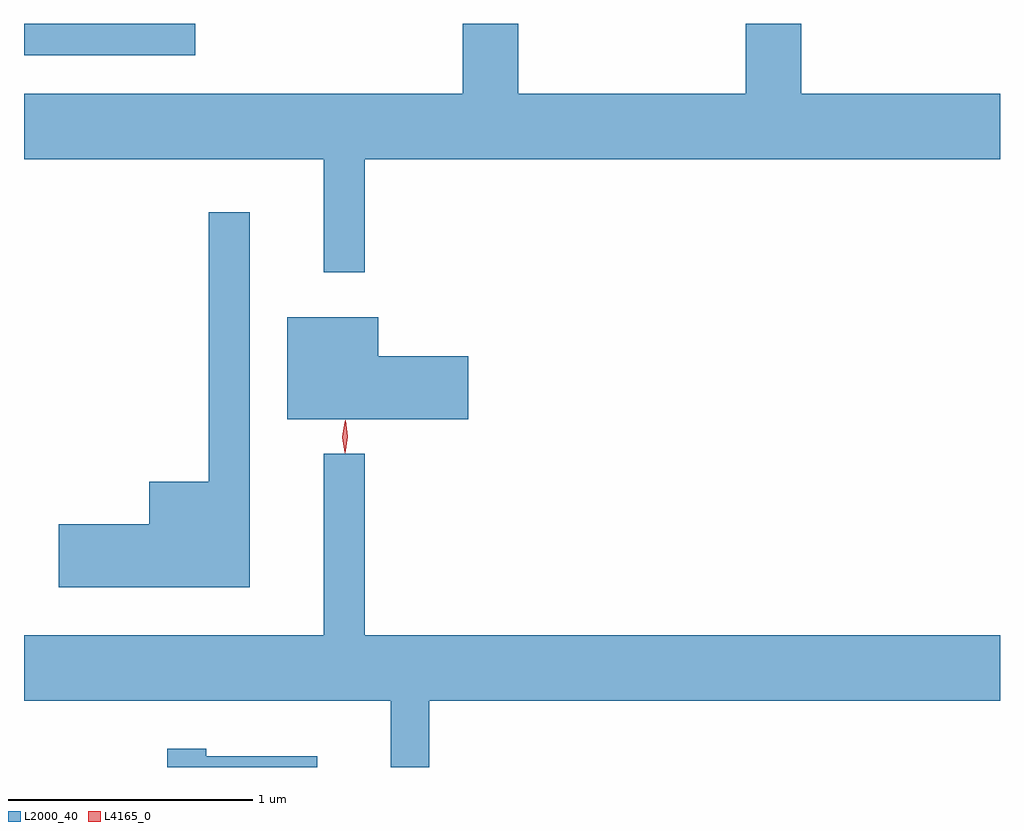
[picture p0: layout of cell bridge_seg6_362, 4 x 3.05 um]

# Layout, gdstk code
import gdstk
lib = gdstk.Library(unit=1e-6, precision=1e-09)
def R(c, l, rs):  # rectangles x0, y0, x1, y1
    for r in rs: c.add(gdstk.rectangle(r[:2], r[2:], *l))
def P(c, l, *ps):  # polygons
    for p in ps: c.add(gdstk.Polygon(p, *l))
L2000_40 = (2000, 40)
L4165_0 = (4165, 0)

bridge_seg6_362 = lib.new_cell('bridge_seg6_362')
R(bridge_seg6_362, L2000_40, [(956.633,1668.121,957.334,1668.252)])
P(bridge_seg6_362, L2000_40, [(958.029,1667.696),(960.633,1667.696),(960.633,1667.964),(959.819,1667.964),(959.819,1668.252),(959.591,1668.252),(959.591,1667.964),(958.659,1667.964),(958.659,1668.252),(958.431,1668.252),(958.431,1667.964),(956.633,1667.964),(956.633,1667.696),(957.861,1667.696),(957.861,1667.233),(958.029,1667.233)],
  [(957.559,1667.478),(957.391,1667.478),(957.391,1666.374),(957.146,1666.374),(957.146,1666.199),(956.776,1666.199),(956.776,1665.941),(957.559,1665.941)],
  [(958.454,1666.889),(958.084,1666.889),(958.084,1667.049),(957.711,1667.049),(957.711,1666.631),(958.454,1666.631)],
  [(958.294,1665.476),(960.633,1665.476),(960.633,1665.744),(958.029,1665.744),(958.029,1666.488),(957.861,1666.488),(957.861,1665.744),(956.633,1665.744),(956.633,1665.476),(958.136,1665.476),(958.136,1665.203),(958.294,1665.203)],
  [(957.834,1665.249),(957.379,1665.249),(957.379,1665.279),(957.221,1665.279),(957.221,1665.203),(957.834,1665.203)])
P(bridge_seg6_362, L4165_0, [(957.949,1666.49),(957.94,1666.558),(957.95,1666.626),(957.951,1666.626),(957.951,1666.626),(957.96,1666.558),(957.95,1666.49),(957.95,1666.49)],
  [(957.947,1666.493),(957.947,1666.493),(957.937,1666.556),(957.947,1666.619),(957.947,1666.62),(957.948,1666.619),(957.957,1666.556),(957.948,1666.493)])

lib.write_gds('bridge_seg6_362.gds')
